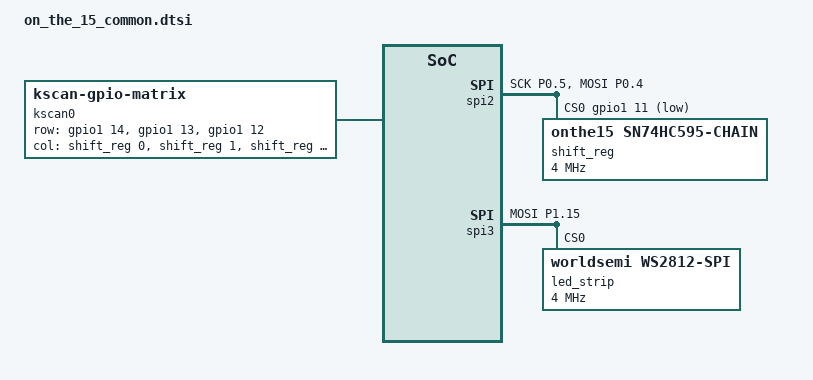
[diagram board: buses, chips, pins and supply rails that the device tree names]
/*
 * Shared hardware definition for all On the 15 v4 boards (x7/x8/x15) on the
 * Seeed XIAO BLE. Pin assignment follows rmk_firmware/README.md:
 *
 *   P0.04 (D6)  74HC595 SER   (SPI MOSI)
 *   P0.05 (D7)  74HC595 SRCLK (SPI SCK)
 *   P1.11 (D8)  74HC595 RCLK  (SPI CS, latch on release)
 *   P1.12 (D9)  row2 (side switches)
 *   P1.13 (D10) row1
 *   P1.14 (D11) row0
 *   P1.15 (D12) SK6812 data
 *
 * Defaults are the x7/x8 chain (2 x 74HC595 = 16 columns, 38 SK6812).
 * The x15 shield overrides ngpios, chain-length and col-gpios.
 */

#include <dt-bindings/led/led.h>

&pinctrl {
    spi2_595_default: spi2_595_default {
        group1 {
            psels = <NRF_PSEL(SPIM_SCK, 0, 5)>,
                    <NRF_PSEL(SPIM_MOSI, 0, 4)>;
        };
    };

    spi2_595_sleep: spi2_595_sleep {
        group1 {
            psels = <NRF_PSEL(SPIM_SCK, 0, 5)>,
                    <NRF_PSEL(SPIM_MOSI, 0, 4)>;
            low-power-enable;
        };
    };

    spi3_led_default: spi3_led_default {
        group1 {
            psels = <NRF_PSEL(SPIM_MOSI, 1, 15)>;
        };
    };

    spi3_led_sleep: spi3_led_sleep {
        group1 {
            psels = <NRF_PSEL(SPIM_MOSI, 1, 15)>;
            low-power-enable;
        };
    };
};

&spi2 {
    status = "okay";
    pinctrl-0 = <&spi2_595_default>;
    pinctrl-1 = <&spi2_595_sleep>;
    pinctrl-names = "default", "sleep";
    cs-gpios = <&gpio1 11 GPIO_ACTIVE_LOW>;

    shift_reg: sn74hc595-chain@0 {
        compatible = "onthe15,sn74hc595-chain";
        reg = <0>;
        spi-max-frequency = <4000000>;
        ngpios = <16>;
        gpio-controller;
        #gpio-cells = <2>;
    };
};

&spi3 {
    status = "okay";
    pinctrl-0 = <&spi3_led_default>;
    pinctrl-1 = <&spi3_led_sleep>;
    pinctrl-names = "default", "sleep";

    led_strip: ws2812@0 {
        compatible = "worldsemi,ws2812-spi";
        reg = <0>;
        spi-max-frequency = <4000000>;
        chain-length = <38>;
        spi-one-frame = <0x70>;
        spi-zero-frame = <0x40>;
        color-mapping = <LED_COLOR_ID_GREEN
                         LED_COLOR_ID_RED
                         LED_COLOR_ID_BLUE>;
    };
};

/ {
    chosen {
        zmk,underglow = &led_strip;
    };

    kscan0: kscan_0 {
        compatible = "zmk,kscan-gpio-matrix";
        diode-direction = "col2row";
        wakeup-source;

        row-gpios
            = <&gpio1 14 (GPIO_ACTIVE_HIGH | GPIO_PULL_DOWN)>
            , <&gpio1 13 (GPIO_ACTIVE_HIGH | GPIO_PULL_DOWN)>
            , <&gpio1 12 (GPIO_ACTIVE_HIGH | GPIO_PULL_DOWN)>
            ;

        col-gpios
            = <&shift_reg 0 GPIO_ACTIVE_HIGH>
            , <&shift_reg 1 GPIO_ACTIVE_HIGH>
            , <&shift_reg 2 GPIO_ACTIVE_HIGH>
            , <&shift_reg 3 GPIO_ACTIVE_HIGH>
            , <&shift_reg 4 GPIO_ACTIVE_HIGH>
            , <&shift_reg 5 GPIO_ACTIVE_HIGH>
            , <&shift_reg 6 GPIO_ACTIVE_HIGH>
            , <&shift_reg 7 GPIO_ACTIVE_HIGH>
            , <&shift_reg 8 GPIO_ACTIVE_HIGH>
            , <&shift_reg 9 GPIO_ACTIVE_HIGH>
            , <&shift_reg 10 GPIO_ACTIVE_HIGH>
            , <&shift_reg 11 GPIO_ACTIVE_HIGH>
            , <&shift_reg 12 GPIO_ACTIVE_HIGH>
            , <&shift_reg 13 GPIO_ACTIVE_HIGH>
            , <&shift_reg 14 GPIO_ACTIVE_HIGH>
            , <&shift_reg 15 GPIO_ACTIVE_HIGH>
            ;
    };
};
